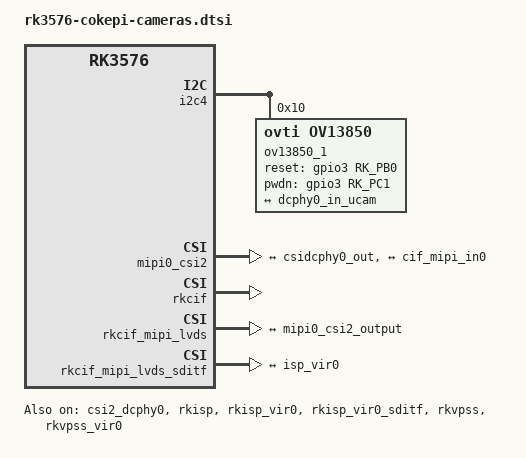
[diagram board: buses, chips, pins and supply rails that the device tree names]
// SPDX-License-Identifier: (GPL-2.0+ OR MIT)
/*
 * Copyright (c) 2024 Rockchip Electronics Co., Ltd.
 *
 */

&csi2_dcphy0 {
	status = "okay";

	ports {
		#address-cells = <1>;
		#size-cells = <0>;
		port@0 {
			reg = <0>;
			#address-cells = <1>;
			#size-cells = <0>;

			dcphy0_in_ucam: endpoint@1 {
				reg = <1>;
				remote-endpoint = <&ov13850_1_out>;
				data-lanes = <1 2 3 4>;
			};
		};
		port@1 {
			reg = <1>;
			#address-cells = <1>;
			#size-cells = <0>;

			csidcphy0_out: endpoint@0 {
				reg = <0>;
				remote-endpoint = <&mipi0_csi2_input>;
			};
		};
	};
};

&i2c4 {
	status = "okay";
	pinctrl-0 = <&i2c4m3_xfer>;

	ov13850_1: ov13850_1@10 {
		compatible = "ovti,ov13850";
		status = "okay";
		reg = <0x10>;
		clocks = <&cru CLK_MIPI_CAMERAOUT_M1>;
		clock-names = "xvclk";
		pinctrl-names = "default";
		pinctrl-0 = <&cam_clk1m0_clk1>;
		power-domains = <&power RK3576_PD_VI>;
		reset-gpios = <&gpio3 RK_PB0 GPIO_ACTIVE_HIGH>;
		pwdn-gpios = <&gpio3 RK_PC1 GPIO_ACTIVE_HIGH>;
		rockchip,camera-module-index = <0>;
		rockchip,camera-module-facing = "back";
		rockchip,camera-module-name = "CMK-OT2016-FV1";
		rockchip,camera-module-lens-name = "default";
		port {
			ov13850_1_out: endpoint {
				remote-endpoint = <&dcphy0_in_ucam>;
				data-lanes = <1 2 3 4>;
			};
		};
	};
};

&mipi0_csi2 {
	status = "okay";

	ports {
		#address-cells = <1>;
		#size-cells = <0>;

		port@0 {
			reg = <0>;
			#address-cells = <1>;
			#size-cells = <0>;

			mipi0_csi2_input: endpoint@1 {
				reg = <1>;
				remote-endpoint = <&csidcphy0_out>;
			};
		};

		port@1 {
			reg = <1>;
			#address-cells = <1>;
			#size-cells = <0>;

			mipi0_csi2_output: endpoint@0 {
				reg = <0>;
				remote-endpoint = <&cif_mipi_in0>;
			};
		};
	};
};

&rkcif {
	status = "okay";
};

&rkcif_mipi_lvds {
	status = "okay";

	port {
		cif_mipi_in0: endpoint {
			remote-endpoint = <&mipi0_csi2_output>;
		};
	};
};

&rkcif_mipi_lvds_sditf {
	status = "okay";

	port {
		mipi_lvds_sditf: endpoint {
			remote-endpoint = <&isp_vir0>;
		};
	};
};

&rkcif_mmu {
	status = "okay";
};

&rkisp {
	status = "okay";
};

&rkisp_mmu {
	status = "okay";
};

&rkisp_vir0 {
	status = "okay";

	port {
		#address-cells = <1>;
		#size-cells = <0>;

		isp_vir0: endpoint@0 {
			reg = <0>;
			remote-endpoint = <&mipi_lvds_sditf>;
		};
	};
};

&rkisp_vir0_sditf {
	status = "okay";
};

&rkvpss {
	status = "okay";
};

&rkvpss_mmu {
	status = "okay";
};

&rkvpss_vir0 {
	status = "okay";
};
